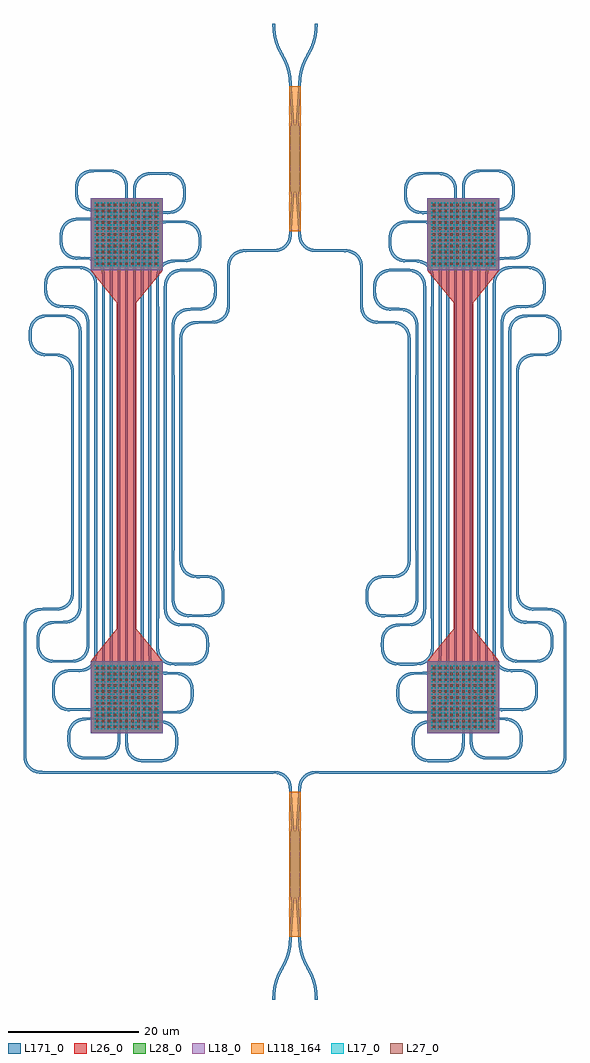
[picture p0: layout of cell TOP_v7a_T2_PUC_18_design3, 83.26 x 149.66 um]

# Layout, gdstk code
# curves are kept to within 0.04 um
import gdstk
lib = gdstk.Library(unit=1e-6, precision=1e-09)
def R(c, l, rs):  # rectangles x0, y0, x1, y1
    for r in rs: c.add(gdstk.rectangle(r[:2], r[2:], *l))
def A(c, l, x, y, w, h, nx, ny, dx, dy):  # array of equal rectangles
    R(c, l, [(x+i*dx, y+j*dy, x+i*dx+w, y+j*dy+h) for i in range(nx) for j in range(ny)])
def P(c, l, *ps):  # polygons
    for p in ps: c.add(gdstk.Polygon(p, *l))
L17_0 = (17, 0)
L18_0 = (18, 0)
L26_0 = (26, 0)
L27_0 = (27, 0)
L28_0 = (28, 0)
L118_164 = (118, 164)
L171_0 = (171, 0)

top_v7a_t2_puc_18_design = lib.new_cell('TOP_v7a_T2_PUC_18_design3')
A(top_v7a_t2_puc_18_design, L17_0, -30.715, -33.4, 0.2, 0.2, 21, 21, 0.48, 0.48)
A(top_v7a_t2_puc_18_design, L17_0, 20.915, -33.4, 0.2, 0.2, 21, 21, 0.48, 0.48)
A(top_v7a_t2_puc_18_design, L17_0, -30.715, 37.6, 0.2, 0.2, 21, 21, 0.48, 0.48)
A(top_v7a_t2_puc_18_design, L17_0, 20.915, 37.6, 0.2, 0.2, 21, 21, 0.48, 0.48)
R(top_v7a_t2_puc_18_design, L18_0, [(-31.315,-34,-20.315,-23), (20.315,-34,31.315,-23), (-31.315,37,-20.315,48), (20.315,37,31.315,48)])
R(top_v7a_t2_puc_18_design, L26_0, [(-31.315,-34,-20.315,-23), (20.315,-34,31.315,-23), (-27.315,-18,-24.315,32), (24.315,-18,27.315,32), (-31.315,37,-20.315,48), (20.315,37,31.315,48)])
P(top_v7a_t2_puc_18_design, L26_0, [(24.315,32),(20.315,37),(31.315,37),(27.315,32)],
  [(20.315,-23),(24.315,-18),(27.315,-18),(31.315,-23)],
  [(-27.315,32),(-31.315,37),(-20.315,37),(-24.315,32)],
  [(-31.315,-23),(-27.315,-18),(-24.315,-18),(-20.315,-23)])
A(top_v7a_t2_puc_18_design, L27_0, -30.495, -33.18, 0.36, 0.36, 11, 11, 0.9, 0.9)
A(top_v7a_t2_puc_18_design, L27_0, 21.135, -33.18, 0.36, 0.36, 11, 11, 0.9, 0.9)
A(top_v7a_t2_puc_18_design, L27_0, -30.495, 37.82, 0.36, 0.36, 11, 11, 0.9, 0.9)
A(top_v7a_t2_puc_18_design, L27_0, 21.135, 37.82, 0.36, 0.36, 11, 11, 0.9, 0.9)
R(top_v7a_t2_puc_18_design, L28_0, [(-31.315,-34,-20.315,-23), (20.315,-34,31.315,-23), (-31.315,37,-20.315,48), (20.315,37,31.315,48)])
R(top_v7a_t2_puc_18_design, L118_164, [(-0.91,-65.2,0.91,-43), (-0.91,43,0.91,65.2)])
R(top_v7a_t2_puc_18_design, L171_0, [(-38.425,-40.205,-3.705,-39.795), (3.705,-40.205,38.425,-39.795), (-41.63,-37,-41.22,-23), (41.22,-37,41.63,-23), (-7.205,39.795,-3.705,40.205), (3.705,39.795,7.205,40.205)])
P(top_v7a_t2_puc_18_design, L171_0, [(20.962,-38.436),(20.127,-38.385),(19.543,-38.229),(18.977,-37.916),(18.51,-37.469),(18.219,-37.015),(18.006,-36.399),(17.932,-35.788),(17.932,-34.672),(18.018,-34.007),(18.219,-33.445),(18.544,-32.949),(18.934,-32.576),(19.443,-32.273),(20.016,-32.095),(20.572,-32.032),(22.365,-31.999),(22.799,-31.921),(23.193,-31.771),(23.693,-31.425),(24.08,-30.957),(24.308,-30.444),(24.411,-29.818),(24.425,48.869),(24.373,49.749),(24.211,50.298),(23.888,50.813),(23.436,51.219),(22.933,51.47),(22.023,51.61),(19.21,51.589),(18.731,51.498),(18.299,51.317),(17.952,51.078),(17.628,50.74),(17.404,50.383),(17.254,49.989),(17.151,49.016),(17.176,48.085),(17.295,47.517),(17.546,47.014),(17.952,46.562),(18.382,46.279),(18.919,46.095),(21.338,45.99),(21.828,45.89),(22.278,45.706),(22.807,45.335),(23.223,44.839),(23.499,44.255),(23.632,43.546),(23.675,34.032),(23.651,-27.988),(23.53,-29.152),(23.356,-29.605),(23.065,-30.059),(22.726,-30.406),(22.325,-30.681),(21.88,-30.874),(21.448,-30.975),(18.481,-31.025),(17.428,-30.905),(16.651,-30.538),(16.282,-30.222),(16.012,-29.885),(15.661,-29.098),(15.555,-28.099),(15.573,-27.094),(15.706,-26.385),(16.012,-25.755),(16.438,-25.269),(16.975,-24.909),(17.591,-24.696),(18.202,-24.622),(19.995,-24.589),(20.429,-24.511),(20.823,-24.361),(21.253,-24.078),(21.659,-23.626),(21.91,-23.123),(22.029,-22.555),(22.055,41.459),(21.975,42.484),(21.801,42.973),(21.487,43.438),(21.066,43.809),(20.563,44.06),(19.653,44.2),(16.84,44.179),(16.406,44.101),(16.012,43.951),(15.655,43.727),(15.317,43.403),(14.925,42.713),(14.785,41.803),(14.794,40.822),(14.897,40.196),(15.15,39.643),(15.582,39.152),(16.012,38.869),(16.549,38.685),(18.968,38.58),(19.458,38.48),(19.908,38.296),(20.437,37.925),(20.853,37.429),(21.129,36.845),(21.262,36.136),(21.28,-20.689),(21.23,-21.413),(21.074,-21.997),(20.793,-22.519),(20.397,-22.961),(19.662,-23.409),(18.857,-23.592),(15.943,-23.612),(14.955,-23.464),(14.194,-23.064),(13.612,-22.429),(13.291,-21.688),(13.185,-20.689),(13.203,-19.684),(13.336,-18.975),(13.642,-18.345),(14.068,-17.859),(14.605,-17.499),(15.221,-17.286),(15.832,-17.212),(17.625,-17.179),(18.059,-17.101),(18.453,-16.951),(18.883,-16.668),(19.289,-16.216),(19.54,-15.713),(19.659,-15.145),(19.685,34.049),(19.615,35.026),(19.431,35.563),(19.148,35.993),(18.696,36.399),(18.193,36.65),(17.283,36.79),(14.617,36.781),(14.131,36.715),(13.727,36.581),(13.074,36.131),(12.806,35.806),(12.606,35.435),(12.48,35.026),(12.421,34.54),(12.421,33.46),(12.514,32.831),(12.78,32.233),(13.177,31.773),(13.642,31.459),(14.179,31.275),(16.598,31.17),(17.088,31.07),(17.538,30.886),(18.067,30.515),(18.483,30.019),(18.759,29.435),(18.887,28.782),(18.935,19.212),(18.903,-13.558),(18.759,-14.435),(18.423,-15.109),(17.858,-15.686),(17.14,-16.054),(16.263,-16.198),(13.573,-16.202),(12.851,-16.124),(12.235,-15.911),(11.542,-15.402),(11.063,-14.687),(10.857,-13.948),(10.814,-12.832),(10.865,-11.997),(11.021,-11.413),(11.366,-10.804),(11.824,-10.346),(12.333,-10.043),(12.906,-9.865),(13.462,-9.802),(15.255,-9.769),(15.998,-9.581),(16.44,-9.317),(16.837,-8.92),(17.101,-8.478),(17.263,-7.929),(17.315,-7.049),(17.315,26.049),(17.263,26.929),(17.101,27.478),(16.778,27.993),(16.326,28.399),(15.867,28.634),(15.06,28.784),(12.257,28.837),(11.668,28.982),(11.14,29.252),(10.619,29.719),(10.248,30.313),(10.05,30.997),(10,31.721),(10,37),(10.41,37),(10.424,31.412),(10.555,30.697),(10.86,30.118),(11.438,29.575),(12.131,29.285),(12.812,29.21),(15.246,29.187),(15.798,29.099),(16.207,28.957),(16.716,28.654),(17.174,28.196),(17.519,27.587),(17.675,27.003),(17.726,26.168),(17.726,-7.168),(17.675,-8.003),(17.519,-8.587),(17.238,-9.109),(16.842,-9.551),(16.305,-9.911),(15.852,-10.085),(15.302,-10.182),(13.091,-10.257),(12.542,-10.419),(12.1,-10.683),(11.703,-11.08),(11.421,-11.565),(11.277,-12.071),(11.226,-12.804),(11.263,-13.832),(11.439,-14.478),(11.889,-15.131),(12.457,-15.541),(12.946,-15.715),(13.627,-15.79),(16.245,-15.784),(17.008,-15.65),(17.625,-15.317),(18.13,-14.767),(18.396,-14.169),(18.495,-13.393),(18.474,28.735),(18.355,29.303),(18.104,29.806),(17.698,30.258),(17.268,30.541),(16.874,30.691),(16.44,30.769),(14.647,30.802),(14.036,30.876),(13.42,31.089),(12.843,31.485),(12.399,32.026),(12.12,32.668),(12.01,33.386),(12.01,34.614),(12.206,35.587),(12.427,36.019),(12.727,36.402),(13.096,36.718),(13.518,36.957),(14.036,37.124),(14.591,37.195),(17.448,37.198),(18.004,37.135),(18.477,36.999),(18.999,36.718),(19.476,36.281),(19.801,35.785),(20.025,35.114),(20.096,34.168),(20.06,-15.303),(19.908,-15.947),(19.608,-16.519),(19.212,-16.961),(18.675,-17.321),(18.222,-17.495),(17.672,-17.592),(15.461,-17.667),(14.912,-17.829),(14.47,-18.093),(14.045,-18.528),(13.756,-19.063),(13.621,-19.675),(13.595,-20.459),(13.665,-21.436),(13.916,-22.097),(14.397,-22.668),(15.087,-23.06),(15.997,-23.2),(18.663,-23.191),(19.422,-23.044),(20.068,-22.668),(20.42,-22.292),(20.692,-21.801),(20.818,-21.339),(20.869,-20.606),(20.844,36.145),(20.725,36.713),(20.474,37.216),(20.068,37.668),(19.638,37.951),(19.244,38.101),(18.81,38.179),(17.017,38.212),(16.406,38.286),(15.79,38.499),(15.253,38.859),(14.797,39.391),(14.49,40.078),(14.38,40.796),(14.373,41.857),(14.521,42.845),(14.714,43.29),(15.024,43.732),(15.379,44.064),(15.79,44.321),(16.243,44.495),(16.793,44.592),(19.818,44.608),(20.797,44.428),(21.369,44.128),(21.811,43.732),(22.171,43.195),(22.384,42.579),(22.466,41.578),(22.442,-22.602),(22.314,-23.255),(22.038,-23.839),(21.622,-24.335),(21.093,-24.706),(20.643,-24.89),(20.153,-24.99),(17.734,-25.095),(17.197,-25.279),(16.767,-25.562),(16.361,-26.014),(16.11,-26.517),(15.991,-27.085),(15.966,-28.016),(16.045,-28.894),(16.361,-29.626),(16.629,-29.951),(16.954,-30.219),(17.325,-30.419),(17.734,-30.545),(18.367,-30.61),(20.494,-30.615),(21.519,-30.535),(21.966,-30.381),(22.365,-30.137),(22.762,-29.74),(23.006,-29.341),(23.188,-28.749),(23.24,-27.869),(23.229,43.36),(23.136,43.989),(22.942,44.466),(22.576,44.951),(22.172,45.27),(21.748,45.47),(21.277,45.577),(19.219,45.633),(18.408,45.802),(17.926,46.042),(17.543,46.342),(17.197,46.755),(16.946,47.233),(16.763,48.038),(16.747,49.378),(16.846,50.098),(17.084,50.7),(17.543,51.298),(18.16,51.731),(18.831,51.955),(19.666,52.025),(22.356,52.007),(22.962,51.905),(23.415,51.731),(23.992,51.335),(24.436,50.794),(24.715,50.152),(24.825,49.434),(24.835,-29.509),(24.765,-30.344),(24.541,-31.015),(24.145,-31.592),(23.604,-32.036),(23.065,-32.284),(22.578,-32.393),(20.59,-32.446),(20.056,-32.515),(19.484,-32.733),(18.999,-33.099),(18.633,-33.584),(18.415,-34.156),(18.34,-34.837),(18.373,-36.062),(18.48,-36.533),(18.656,-36.917),(19.21,-37.547),(19.567,-37.771),(19.961,-37.921),(20.934,-38.024),(23.355,-38.014),(24.206,-37.847),(24.735,-37.547),(25.132,-37.15),(25.396,-36.708),(25.558,-36.159),(25.61,-35.279),(25.61,7),(26.02,7),(25.985,-36.123),(25.833,-36.767),(25.533,-37.339),(25.096,-37.816),(24.502,-38.187),(23.984,-38.354),(23.429,-38.425)],
  [(29.832,-38.026),(29.107,-37.99),(28.617,-37.89),(28.12,-37.681),(27.678,-37.371),(27.314,-36.973),(27.043,-36.507),(26.876,-35.989),(26.802,-35.378),(26.802,43.788),(26.901,44.508),(27.139,45.11),(27.522,45.632),(28.12,46.091),(28.565,46.284),(29.107,46.4),(31.526,46.505),(32.063,46.689),(32.493,46.972),(32.899,47.424),(33.15,47.927),(33.269,48.495),(33.294,49.426),(33.191,50.399),(33.041,50.793),(32.817,51.15),(32.493,51.488),(32.146,51.727),(31.714,51.908),(31.235,51.999),(28.422,52.02),(27.512,51.88),(27.009,51.629),(26.557,51.223),(26.234,50.708),(26.072,50.159),(26.02,49.279),(26.02,7),(25.61,7),(25.62,49.844),(25.691,50.399),(25.858,50.917),(26.129,51.383),(26.493,51.781),(26.935,52.091),(27.38,52.284),(27.867,52.393),(28.536,52.435),(31.393,52.4),(32.037,52.248),(32.565,51.978),(33.154,51.426),(33.518,50.767),(33.682,50.012),(33.705,48.951),(33.655,48.227),(33.499,47.643),(33.186,47.077),(32.739,46.61),(32.187,46.273),(31.614,46.095),(31.058,46.032),(29.265,45.999),(28.831,45.921),(28.437,45.771),(27.937,45.425),(27.55,44.957),(27.322,44.444),(27.219,43.818),(27.205,-34.869),(27.266,-35.798),(27.439,-36.341),(27.742,-36.813),(28.194,-37.219),(28.697,-37.47),(29.607,-37.61),(32.42,-37.589),(32.899,-37.498),(33.331,-37.317),(33.678,-37.078),(34.002,-36.74),(34.226,-36.383),(34.376,-35.989),(34.479,-35.016),(34.454,-34.085),(34.335,-33.517),(34.084,-33.014),(33.678,-32.562),(33.248,-32.279),(32.711,-32.095),(30.292,-31.99),(29.802,-31.89),(29.352,-31.706),(28.823,-31.335),(28.407,-30.839),(28.131,-30.255),(27.998,-29.546),(27.955,-20.032),(27.979,41.988),(28.1,43.152),(28.274,43.605),(28.565,44.059),(28.904,44.406),(29.305,44.681),(29.75,44.874),(30.182,44.975),(33.149,45.025),(34.202,44.905),(34.979,44.538),(35.348,44.222),(35.618,43.885),(35.969,43.098),(36.075,42.099),(36.057,41.094),(35.924,40.385),(35.618,39.755),(35.192,39.269),(34.655,38.909),(34.039,38.696),(33.428,38.622),(31.635,38.589),(31.201,38.511),(30.807,38.361),(30.377,38.078),(29.971,37.626),(29.72,37.123),(29.601,36.555),(29.575,-27.459),(29.655,-28.484),(29.829,-28.973),(30.143,-29.438),(30.564,-29.809),(31.067,-30.06),(31.977,-30.2),(34.79,-30.179),(35.224,-30.101),(35.618,-29.951),(35.975,-29.727),(36.313,-29.403),(36.705,-28.713),(36.845,-27.803),(36.836,-26.822),(36.733,-26.196),(36.48,-25.643),(36.048,-25.152),(35.618,-24.869),(35.081,-24.685),(32.662,-24.58),(32.172,-24.48),(31.722,-24.296),(31.193,-23.925),(30.777,-23.429),(30.501,-22.845),(30.368,-22.136),(30.35,34.689),(30.4,35.413),(30.556,35.997),(30.837,36.519),(31.233,36.961),(31.968,37.409),(32.773,37.592),(35.687,37.612),(36.675,37.464),(37.436,37.064),(38.018,36.429),(38.339,35.688),(38.445,34.689),(38.427,33.684),(38.294,32.975),(37.988,32.345),(37.562,31.859),(37.025,31.499),(36.409,31.286),(35.798,31.212),(34.005,31.179),(33.571,31.101),(33.177,30.951),(32.747,30.668),(32.341,30.216),(32.09,29.713),(31.971,29.145),(31.945,-20.049),(32.015,-21.026),(32.199,-21.563),(32.482,-21.993),(32.934,-22.399),(33.437,-22.65),(34.347,-22.79),(37.013,-22.781),(37.499,-22.715),(37.903,-22.581),(38.556,-22.131),(38.824,-21.806),(39.024,-21.435),(39.15,-21.026),(39.209,-20.54),(39.209,-19.46),(39.116,-18.831),(38.85,-18.233),(38.453,-17.773),(37.988,-17.459),(37.451,-17.275),(35.032,-17.17),(34.542,-17.07),(34.092,-16.886),(33.563,-16.515),(33.147,-16.019),(32.871,-15.435),(32.743,-14.782),(32.695,-5.212),(32.727,27.558),(32.871,28.435),(33.207,29.109),(33.772,29.686),(34.49,30.054),(35.367,30.198),(38.057,30.202),(38.779,30.124),(39.395,29.911),(40.088,29.402),(40.567,28.687),(40.773,27.948),(40.816,26.832),(40.765,25.997),(40.609,25.413),(40.264,24.804),(39.806,24.346),(39.297,24.043),(38.724,23.865),(38.168,23.802),(36.375,23.769),(35.632,23.581),(35.19,23.317),(34.793,22.92),(34.529,22.478),(34.367,21.929),(34.315,21.049),(34.315,-12.049),(34.367,-12.929),(34.529,-13.478),(34.852,-13.993),(35.304,-14.399),(35.763,-14.634),(36.57,-14.784),(39.373,-14.837),(39.962,-14.982),(40.49,-15.252),(41.011,-15.719),(41.382,-16.313),(41.58,-16.997),(41.63,-17.721),(41.63,-23),(41.22,-23),(41.206,-17.412),(41.075,-16.697),(40.77,-16.118),(40.192,-15.575),(39.499,-15.285),(38.818,-15.21),(36.384,-15.187),(35.832,-15.099),(35.423,-14.957),(34.914,-14.654),(34.456,-14.196),(34.111,-13.587),(33.955,-13.003),(33.904,-12.168),(33.904,21.168),(33.955,22.003),(34.111,22.587),(34.392,23.109),(34.788,23.551),(35.325,23.911),(35.778,24.085),(36.328,24.182),(38.539,24.257),(39.088,24.419),(39.53,24.683),(39.927,25.08),(40.209,25.565),(40.353,26.071),(40.404,26.804),(40.367,27.832),(40.191,28.478),(39.741,29.131),(39.173,29.541),(38.684,29.715),(38.003,29.79),(35.385,29.784),(34.622,29.65),(34.005,29.317),(33.5,28.767),(33.234,28.169),(33.135,27.393),(33.156,-14.735),(33.275,-15.303),(33.526,-15.806),(33.932,-16.258),(34.362,-16.541),(34.756,-16.691),(35.19,-16.769),(36.983,-16.802),(37.594,-16.876),(38.21,-17.089),(38.787,-17.485),(39.231,-18.026),(39.51,-18.668),(39.62,-19.386),(39.62,-20.614),(39.424,-21.587),(39.203,-22.019),(38.903,-22.402),(38.534,-22.718),(38.112,-22.957),(37.594,-23.124),(37.039,-23.195),(34.182,-23.198),(33.626,-23.135),(33.153,-22.999),(32.631,-22.718),(32.154,-22.281),(31.829,-21.785),(31.605,-21.114),(31.534,-20.168),(31.57,29.303),(31.722,29.947),(32.022,30.519),(32.418,30.961),(32.955,31.321),(33.408,31.495),(33.958,31.592),(36.169,31.667),(36.718,31.829),(37.16,32.093),(37.585,32.528),(37.874,33.063),(38.009,33.675),(38.035,34.459),(37.965,35.436),(37.714,36.097),(37.233,36.668),(36.543,37.06),(35.633,37.2),(32.967,37.191),(32.208,37.044),(31.562,36.668),(31.21,36.292),(30.938,35.801),(30.812,35.339),(30.761,34.606),(30.786,-22.145),(30.905,-22.713),(31.156,-23.216),(31.562,-23.668),(31.992,-23.951),(32.386,-24.101),(32.82,-24.179),(34.613,-24.212),(35.224,-24.286),(35.84,-24.499),(36.377,-24.859),(36.833,-25.391),(37.14,-26.078),(37.25,-26.796),(37.257,-27.857),(37.109,-28.845),(36.916,-29.29),(36.606,-29.732),(36.251,-30.064),(35.84,-30.321),(35.387,-30.495),(34.837,-30.592),(31.812,-30.608),(30.833,-30.428),(30.261,-30.128),(29.819,-29.732),(29.459,-29.195),(29.246,-28.579),(29.164,-27.578),(29.188,36.602),(29.316,37.255),(29.592,37.839),(30.008,38.335),(30.537,38.706),(30.987,38.89),(31.477,38.99),(33.896,39.095),(34.433,39.279),(34.863,39.562),(35.269,40.014),(35.52,40.517),(35.639,41.085),(35.664,42.016),(35.585,42.894),(35.269,43.626),(35.001,43.951),(34.676,44.219),(33.944,44.535),(32.919,44.615),(30.792,44.61),(30.159,44.545),(29.707,44.401),(29.303,44.165),(28.958,43.848),(28.711,43.507),(28.46,42.846),(28.39,41.869),(28.404,-29.408),(28.507,-30.034),(28.735,-30.547),(29.122,-31.015),(29.622,-31.361),(30.016,-31.511),(30.45,-31.589),(32.243,-31.622),(32.799,-31.685),(33.372,-31.863),(33.924,-32.2),(34.371,-32.667),(34.684,-33.233),(34.84,-33.817),(34.89,-34.541),(34.867,-35.602),(34.703,-36.357),(34.339,-37.016),(33.794,-37.538),(33.222,-37.838),(32.578,-37.99)],
  [(-22.983,-38.436),(-23.708,-38.4),(-24.198,-38.3),(-24.695,-38.091),(-25.137,-37.781),(-25.501,-37.383),(-25.772,-36.917),(-25.939,-36.399),(-26.01,-35.844),(-26.02,7),(-25.61,7),(-25.61,-35.279),(-25.558,-36.159),(-25.396,-36.708),(-25.073,-37.223),(-24.621,-37.629),(-24.118,-37.88),(-23.208,-38.02),(-20.201,-37.973),(-19.739,-37.847),(-19.324,-37.629),(-18.935,-37.293),(-18.656,-36.917),(-18.387,-36.159),(-18.34,-34.837),(-18.405,-34.204),(-18.549,-33.752),(-18.813,-33.31),(-19.21,-32.913),(-19.652,-32.649),(-20.152,-32.496),(-22.523,-32.4),(-23.013,-32.3),(-23.463,-32.116),(-23.992,-31.745),(-24.408,-31.249),(-24.684,-30.665),(-24.817,-29.956),(-24.828,49.378),(-24.715,50.152),(-24.436,50.794),(-23.992,51.335),(-23.415,51.731),(-22.908,51.919),(-22.244,52.015),(-19.387,52.018),(-18.613,51.905),(-17.971,51.626),(-17.43,51.182),(-17.034,50.605),(-16.81,49.934),(-16.74,49.099),(-16.775,47.927),(-16.988,47.133),(-17.227,46.711),(-17.543,46.342),(-17.926,46.042),(-18.408,45.802),(-19.219,45.633),(-21.277,45.577),(-21.748,45.47),(-22.172,45.27),(-22.576,44.951),(-22.942,44.466),(-23.136,43.989),(-23.229,43.36),(-23.202,-28.652),(-23.062,-29.211),(-22.762,-29.74),(-22.327,-30.165),(-21.792,-30.454),(-21.374,-30.563),(-20.838,-30.61),(-18.025,-30.589),(-17.546,-30.498),(-17.114,-30.317),(-16.767,-30.078),(-16.443,-29.74),(-16.219,-29.383),(-16.069,-28.989),(-15.966,-28.016),(-15.991,-27.085),(-16.11,-26.517),(-16.361,-26.014),(-16.767,-25.562),(-17.197,-25.279),(-17.734,-25.095),(-20.153,-24.99),(-20.643,-24.89),(-21.093,-24.706),(-21.622,-24.335),(-22.038,-23.839),(-22.314,-23.255),(-22.447,-22.546),(-22.465,41.689),(-22.423,42.358),(-22.314,42.845),(-22.121,43.29),(-21.846,43.691),(-21.541,43.996),(-21.14,44.271),(-20.695,44.464),(-20.208,44.573),(-17.128,44.612),(-16.243,44.495),(-15.466,44.128),(-15.097,43.812),(-14.827,43.475),(-14.476,42.688),(-14.37,41.689),(-14.388,40.684),(-14.521,39.975),(-14.827,39.345),(-15.253,38.859),(-15.79,38.499),(-16.406,38.286),(-17.017,38.212),(-18.81,38.179),(-19.244,38.101),(-19.638,37.951),(-20.068,37.668),(-20.474,37.216),(-20.725,36.713),(-20.844,36.145),(-20.87,-20.459),(-20.8,-21.436),(-20.616,-21.973),(-20.333,-22.403),(-19.881,-22.809),(-19.378,-23.06),(-18.468,-23.2),(-15.655,-23.179),(-15.221,-23.101),(-14.827,-22.951),(-14.47,-22.727),(-14.132,-22.403),(-13.74,-21.713),(-13.6,-20.803),(-13.609,-19.822),(-13.712,-19.196),(-13.965,-18.643),(-14.397,-18.152),(-14.827,-17.869),(-15.364,-17.685),(-17.783,-17.58),(-18.273,-17.48),(-18.723,-17.296),(-19.252,-16.925),(-19.668,-16.429),(-19.944,-15.845),(-20.072,-15.192),(-20.092,34.447),(-20.025,35.114),(-19.847,35.687),(-19.544,36.196),(-19.086,36.654),(-18.427,37.018),(-17.616,37.187),(-14.758,37.202),(-13.873,37.085),(-13.14,36.748),(-12.585,36.239),(-12.206,35.587),(-12.023,34.782),(-12.007,33.442),(-12.106,32.722),(-12.371,32.073),(-12.803,31.522),(-13.325,31.139),(-13.982,30.888),(-14.647,30.802),(-16.44,30.769),(-16.919,30.678),(-17.351,30.497),(-17.836,30.131),(-18.202,29.646),(-18.42,29.074),(-18.495,28.393),(-18.474,-13.735),(-18.355,-14.303),(-18.104,-14.806),(-17.698,-15.258),(-17.183,-15.581),(-16.779,-15.715),(-16.245,-15.784),(-13.627,-15.79),(-12.946,-15.715),(-12.333,-15.474),(-11.825,-15.063),(-11.479,-14.563),(-11.277,-13.929),(-11.225,-13.049),(-11.277,-12.071),(-11.479,-11.437),(-11.703,-11.08),(-12.027,-10.742),(-12.717,-10.35),(-13.432,-10.219),(-15.468,-10.163),(-15.955,-10.054),(-16.447,-9.834),(-16.922,-9.478),(-17.326,-8.974),(-17.574,-8.435),(-17.702,-7.782),(-17.715,26.614),(-17.605,27.332),(-17.326,27.974),(-16.882,28.515),(-16.305,28.911),(-15.852,29.085),(-15.302,29.182),(-12.812,29.21),(-12.131,29.285),(-11.438,29.575),(-10.888,30.08),(-10.555,30.697),(-10.424,31.412),(-10.41,37),(-10,37),(-10.01,31.386),(-10.151,30.565),(-10.457,29.935),(-10.727,29.598),(-11.096,29.282),(-11.518,29.043),(-11.927,28.901),(-12.647,28.802),(-15.255,28.769),(-15.734,28.678),(-16.166,28.497),(-16.651,28.131),(-17.061,27.563),(-17.254,26.978),(-17.314,26.196),(-17.315,-7.049),(-17.263,-7.929),(-17.101,-8.478),(-16.837,-8.92),(-16.44,-9.317),(-15.998,-9.581),(-15.255,-9.769),(-13.462,-9.802),(-12.851,-9.876),(-12.235,-10.089),(-11.698,-10.449),(-11.242,-10.981),(-10.935,-11.668),(-10.825,-12.386),(-10.822,-13.558),(-10.885,-14.114),(-11.021,-14.587),(-11.242,-15.019),(-11.542,-15.402),(-11.911,-15.718),(-12.333,-15.957),(-12.851,-16.124),(-13.406,-16.195),(-16.263,-16.198),(-16.819,-16.135),(-17.292,-15.999),(-17.901,-15.654),(-18.359,-15.196),(-18.704,-14.587),(-18.86,-14.003),(-18.911,-13.168),(-18.935,-4.212),(-18.93,22.545),(-18.868,28.948),(-18.704,29.587),(-18.423,30.109),(-18.027,30.551),(-17.49,30.911),(-17.037,31.085),(-16.487,31.182),(-14.276,31.257),(-13.727,31.419),(-13.285,31.683),(-12.86,32.118),(-12.571,32.653),(-12.442,33.216),(-12.41,33.951),(-12.462,34.929),(-12.708,35.646),(-13.212,36.258),(-13.858,36.634),(-14.276,36.743),(-14.812,36.79),(-17.478,36.781),(-18.193,36.65),(-18.81,36.317),(-19.207,35.92),(-19.489,35.435),(-19.633,34.929),(-19.684,34.196),(-19.659,-15.145),(-19.54,-15.713),(-19.289,-16.216),(-18.883,-16.668),(-18.453,-16.951),(-18.059,-17.101),(-17.625,-17.179),(-15.832,-17.212),(-15.221,-17.286),(-14.605,-17.499),(-14.028,-17.895),(-13.584,-18.436),(-13.305,-19.078),(-13.195,-19.796),(-13.192,-20.968),(-13.255,-21.524),(-13.391,-21.997),(-13.612,-22.429),(-13.912,-22.812),(-14.281,-23.128),(-14.703,-23.367),(-15.221,-23.534),(-15.776,-23.605),(-18.633,-23.608),(-19.189,-23.545),(-19.662,-23.409),(-20.184,-23.128),(-20.661,-22.691),(-20.986,-22.195),(-21.21,-21.524),(-21.28,-20.689),(-21.305,-11.622),(-21.257,36.192),(-21.129,36.845),(-20.853,37.429),(-20.437,37.925),(-19.908,38.296),(-19.458,38.48),(-18.968,38.58),(-16.549,38.685),(-16.012,38.869),(-15.582,39.152),(-15.176,39.604),(-14.925,40.107),(-14.806,40.675),(-14.78,41.459),(-14.85,42.436),(-15.125,43.137),(-15.655,43.727),(-16.012,43.951),(-16.406,44.101),(-17.379,44.204),(-20.092,44.167),(-20.865,43.929),(-21.18,43.727),(-21.518,43.403),(-21.757,43.056),(-21.938,42.624),(-22.054,41.606),(-22.029,-22.555),(-21.91,-23.123),(-21.659,-23.626),(-21.253,-24.078),(-20.823,-24.361),(-20.429,-24.511),(-19.995,-24.589),(-18.202,-24.622),(-17.591,-24.696),(-16.975,-24.909),(-16.438,-25.269),(-15.982,-25.801),(-15.675,-26.488),(-15.565,-27.206),(-15.558,-28.267),(-15.706,-29.255),(-15.899,-29.7),(-16.209,-30.142),(-16.564,-30.474),(-16.975,-30.731),(-17.428,-30.905),(-17.978,-31.002),(-21.003,-31.018),(-21.982,-30.838),(-22.554,-30.538),(-22.996,-30.142),(-23.356,-29.605),(-23.569,-28.989),(-23.65,-28.099),(-23.675,-19.032),(-23.632,43.546),(-23.499,44.255),(-23.223,44.839),(-22.807,45.335),(-22.278,45.706),(-21.828,45.89),(-21.338,45.99),(-18.919,46.095),(-18.382,46.279),(-17.952,46.562),(-17.546,47.014),(-17.295,47.517),(-17.176,48.085),(-17.151,49.016),(-17.23,49.894),(-17.546,50.626),(-17.814,50.951),(-18.139,51.219),(-18.51,51.419),(-18.919,51.545),(-19.552,51.61),(-21.679,51.615),(-22.704,51.535),(-23.151,51.381),(-23.55,51.137),(-23.888,50.813),(-24.171,50.383),(-24.373,49.749),(-24.425,48.869),(-24.411,-29.818),(-24.308,-30.444),(-24.08,-30.957),(-23.693,-31.425),(-23.193,-31.771),(-22.799,-31.921),(-22.365,-31.999),(-20.572,-32.032),(-20.016,-32.095),(-19.443,-32.273),(-18.891,-32.61),(-18.444,-33.077),(-18.131,-33.643),(-17.975,-34.227),(-17.925,-34.951),(-17.948,-36.012),(-18.112,-36.767),(-18.476,-37.426),(-19.021,-37.948),(-19.593,-38.248),(-20.237,-38.4)],
  [(-31.853,-38.026),(-32.688,-37.975),(-33.272,-37.819),(-33.838,-37.506),(-34.305,-37.059),(-34.596,-36.605),(-34.809,-35.989),(-34.883,-35.378),(-34.883,-34.262),(-34.797,-33.597),(-34.596,-33.035),(-34.271,-32.539),(-33.838,-32.134),(-33.272,-31.821),(-32.744,-31.675),(-30.45,-31.589),(-29.664,-31.381),(-29.192,-31.078),(-28.786,-30.626),(-28.535,-30.123),(-28.416,-29.555),(-28.428,42.652),(-28.568,43.211),(-28.868,43.74),(-29.303,44.165),(-29.838,44.454),(-30.256,44.563),(-30.792,44.61),(-33.605,44.589),(-34.084,44.498),(-34.516,44.317),(-34.863,44.078),(-35.187,43.74),(-35.411,43.383),(-35.561,42.989),(-35.664,42.016),(-35.639,41.085),(-35.52,40.517),(-35.269,40.014),(-34.863,39.562),(-34.433,39.279),(-33.896,39.095),(-31.477,38.99),(-30.987,38.89),(-30.537,38.706),(-30.008,38.335),(-29.592,37.839),(-29.316,37.255),(-29.183,36.546),(-29.165,-27.689),(-29.207,-28.358),(-29.316,-28.845),(-29.509,-29.29),(-29.784,-29.691),(-30.089,-29.996),(-30.49,-30.271),(-30.935,-30.464),(-31.422,-30.573),(-34.502,-30.612),(-35.387,-30.495),(-36.164,-30.128),(-36.533,-29.812),(-36.803,-29.475),(-37.154,-28.688),(-37.26,-27.689),(-37.242,-26.684),(-37.109,-25.975),(-36.803,-25.345),(-36.377,-24.859),(-35.84,-24.499),(-35.224,-24.286),(-34.613,-24.212),(-32.82,-24.179),(-32.386,-24.101),(-31.992,-23.951),(-31.562,-23.668),(-31.156,-23.216),(-30.905,-22.713),(-30.786,-22.145),(-30.76,34.459),(-30.83,35.436),(-31.014,35.973),(-31.297,36.403),(-31.749,36.809),(-32.252,37.06),(-33.162,37.2),(-35.975,37.179),(-36.409,37.101),(-36.803,36.951),(-37.16,36.727),(-37.498,36.403),(-37.89,35.713),(-38.03,34.803),(-38.021,33.822),(-37.918,33.196),(-37.665,32.643),(-37.233,32.152),(-36.803,31.869),(-36.266,31.685),(-33.847,31.58),(-33.357,31.48),(-32.907,31.296),(-32.378,30.925),(-31.962,30.429),(-31.686,29.845),(-31.558,29.192),(-31.538,-20.447),(-31.605,-21.114),(-31.783,-21.687),(-32.086,-22.196),(-32.544,-22.654),(-33.203,-23.018),(-34.014,-23.187),(-36.872,-23.202),(-37.757,-23.085),(-38.49,-22.748),(-39.045,-22.239),(-39.424,-21.587),(-39.607,-20.782),(-39.623,-19.442),(-39.524,-18.722),(-39.259,-18.073),(-38.827,-17.522),(-38.305,-17.139),(-37.648,-16.888),(-36.983,-16.802),(-35.19,-16.769),(-34.711,-16.678),(-34.279,-16.497),(-33.794,-16.131),(-33.428,-15.646),(-33.21,-15.074),(-33.135,-14.393),(-33.156,27.735),(-33.275,28.303),(-33.526,28.806),(-33.932,29.258),(-34.447,29.581),(-34.851,29.715),(-35.385,29.784),(-38.003,29.79),(-38.684,29.715),(-39.297,29.474),(-39.805,29.063),(-40.151,28.563),(-40.353,27.929),(-40.405,27.049),(-40.353,26.071),(-40.151,25.437),(-39.927,25.08),(-39.603,24.742),(-38.913,24.35),(-38.198,24.219),(-36.162,24.163),(-35.675,24.054),(-35.183,23.834),(-34.708,23.478),(-34.304,22.974),(-34.056,22.435),(-33.928,21.782),(-33.915,-12.614),(-34.025,-13.332),(-34.304,-13.974),(-34.748,-14.515),(-35.325,-14.911),(-35.778,-15.085),(-36.328,-15.182),(-38.818,-15.21),(-39.499,-15.285),(-40.192,-15.575),(-40.742,-16.08),(-41.075,-16.697),(-41.206,-17.412),(-41.22,-23),(-41.63,-23),(-41.62,-17.386),(-41.479,-16.565),(-41.173,-15.935),(-40.903,-15.598),(-40.534,-15.282),(-40.112,-15.043),(-39.703,-14.901),(-38.983,-14.802),(-36.375,-14.769),(-35.896,-14.678),(-35.464,-14.497),(-34.979,-14.131),(-34.569,-13.563),(-34.376,-12.978),(-34.316,-12.196),(-34.315,21.049),(-34.367,21.929),(-34.529,22.478),(-34.793,22.92),(-35.19,23.317),(-35.632,23.581),(-36.375,23.769),(-38.168,23.802),(-38.779,23.876),(-39.395,24.089),(-39.932,24.449),(-40.388,24.981),(-40.695,25.668),(-40.805,26.386),(-40.808,27.558),(-40.745,28.114),(-40.609,28.587),(-40.388,29.019),(-40.088,29.402),(-39.719,29.718),(-39.297,29.957),(-38.779,30.124),(-38.224,30.195),(-35.367,30.198),(-34.811,30.135),(-34.338,29.999),(-33.729,29.654),(-33.271,29.196),(-32.926,28.587),(-32.77,28.003),(-32.719,27.168),(-32.695,18.212),(-32.7,-8.545),(-32.762,-14.948),(-32.926,-15.587),(-33.207,-16.109),(-33.603,-16.551),(-34.14,-16.911),(-34.593,-17.085),(-35.143,-17.182),(-37.354,-17.257),(-37.903,-17.419),(-38.345,-17.683),(-38.77,-18.118),(-39.059,-18.653),(-39.188,-19.216),(-39.22,-19.951),(-39.168,-20.929),(-38.922,-21.646),(-38.418,-22.258),(-37.772,-22.634),(-37.354,-22.743),(-36.818,-22.79),(-34.152,-22.781),(-33.437,-22.65),(-32.82,-22.317),(-32.423,-21.92),(-32.141,-21.435),(-31.997,-20.929),(-31.946,-20.196),(-31.971,29.145),(-32.09,29.713),(-32.341,30.216),(-32.747,30.668),(-33.177,30.951),(-33.571,31.101),(-34.005,31.179),(-35.798,31.212),(-36.409,31.286),(-37.025,31.499),(-37.602,31.895),(-38.046,32.436),(-38.325,33.078),(-38.435,33.796),(-38.438,34.968),(-38.375,35.524),(-38.239,35.997),(-38.018,36.429),(-37.718,36.812),(-37.349,37.128),(-36.927,37.367),(-36.409,37.534),(-35.854,37.605),(-32.997,37.608),(-32.441,37.545),(-31.968,37.409),(-31.446,37.128),(-30.969,36.691),(-30.644,36.195),(-30.42,35.524),(-30.35,34.689),(-30.325,25.622),(-30.373,-22.192),(-30.501,-22.845),(-30.777,-23.429),(-31.193,-23.925),(-31.722,-24.296),(-32.172,-24.48),(-32.662,-24.58),(-35.081,-24.685),(-35.618,-24.869),(-36.048,-25.152),(-36.454,-25.604),(-36.705,-26.107),(-36.824,-26.675),(-36.85,-27.459),(-36.78,-28.436),(-36.505,-29.137),(-35.975,-29.727),(-35.618,-29.951),(-35.224,-30.101),(-34.251,-30.204),(-31.538,-30.167),(-30.765,-29.929),(-30.45,-29.727),(-30.112,-29.403),(-29.873,-29.056),(-29.692,-28.624),(-29.576,-27.606),(-29.601,36.555),(-29.72,37.123),(-29.971,37.626),(-30.377,38.078),(-30.807,38.361),(-31.201,38.511),(-31.635,38.589),(-33.428,38.622),(-34.039,38.696),(-34.655,38.909),(-35.192,39.269),(-35.648,39.801),(-35.955,40.488),(-36.065,41.206),(-36.072,42.267),(-35.924,43.255),(-35.731,43.7),(-35.421,44.142),(-35.066,44.474),(-34.655,44.731),(-34.202,44.905),(-33.652,45.002),(-30.627,45.018),(-29.648,44.838),(-29.076,44.538),(-28.634,44.142),(-28.274,43.605),(-28.061,42.989),(-27.98,42.099),(-27.955,33.032),(-27.998,-29.546),(-28.131,-30.255),(-28.407,-30.839),(-28.823,-31.335),(-29.352,-31.706),(-29.802,-31.89),(-30.292,-31.99),(-32.711,-32.095),(-33.248,-32.279),(-33.678,-32.562),(-34.084,-33.014),(-34.335,-33.517),(-34.454,-34.085),(-34.479,-35.016),(-34.4,-35.894),(-34.084,-36.626),(-33.816,-36.951),(-33.491,-37.219),(-33.12,-37.419),(-32.711,-37.545),(-32.078,-37.61),(-29.951,-37.615),(-28.926,-37.535),(-28.479,-37.381),(-28.08,-37.137),(-27.742,-36.813),(-27.459,-36.383),(-27.257,-35.749),(-27.205,-34.869),(-27.219,43.818),(-27.322,44.444),(-27.55,44.957),(-27.937,45.425),(-28.437,45.771),(-28.831,45.921),(-29.265,45.999),(-31.058,46.032),(-31.614,46.095),(-32.187,46.273),(-32.739,46.61),(-33.186,47.077),(-33.499,47.643),(-33.655,48.227),(-33.706,49.062),(-33.67,50.123),(-33.499,50.817),(-33.086,51.511),(-32.474,52.036),(-31.935,52.284),(-31.282,52.412),(-28.257,52.428),(-27.701,52.365),(-27.228,52.229),(-26.796,52.008),(-26.413,51.708),(-26.097,51.339),(-25.858,50.917),(-25.691,50.399),(-25.62,49.844),(-25.61,7),(-26.02,7),(-26.02,49.279),(-26.072,50.159),(-26.234,50.708),(-26.557,51.223),(-27.009,51.629),(-27.512,51.88),(-28.422,52.02),(-31.429,51.973),(-31.847,51.864),(-32.267,51.655),(-32.631,51.361),(-32.925,50.997),(-33.225,50.256),(-33.294,49.034),(-33.243,48.301),(-33.099,47.795),(-32.817,47.31),(-32.42,46.913),(-31.978,46.649),(-31.478,46.496),(-29.107,46.4),(-28.617,46.3),(-28.167,46.116),(-27.638,45.745),(-27.222,45.249),(-26.946,44.665),(-26.813,43.956),(-26.802,-35.378),(-26.915,-36.152),(-27.166,-36.747),(-27.598,-37.298),(-28.167,-37.706),(-28.668,-37.905),(-29.274,-38.007)],
  [(-0.91,-65.2),(-0.536,-60.01),(-0.731,-58.907),(-0.792,-57.855),(-0.728,-54.541),(-0.79,-50.234),(-0.731,-49.293),(-0.537,-48.136),(-0.91,-43),(-0.5,-43),(-0.144,-48.572),(-0.095,-48.866),(0,-48.972),(0.095,-48.866),(0.144,-48.572),(0.5,-43),(0.91,-43),(0.536,-48.19),(0.731,-49.293),(0.792,-50.345),(0.728,-53.659),(0.79,-57.966),(0.731,-58.907),(0.537,-60.064),(0.91,-65.2),(0.5,-65.2),(0.144,-59.628),(0.095,-59.334),(0,-59.228),(-0.095,-59.334),(-0.144,-59.628),(-0.5,-65.2)],
  [(-0.91,43),(-0.536,48.19),(-0.731,49.293),(-0.792,50.345),(-0.728,53.659),(-0.79,57.966),(-0.731,58.907),(-0.537,60.064),(-0.91,65.2),(-0.5,65.2),(-0.144,59.628),(-0.095,59.334),(0,59.228),(0.095,59.334),(0.144,59.628),(0.5,65.2),(0.91,65.2),(0.536,60.01),(0.731,58.907),(0.792,57.855),(0.728,54.541),(0.79,50.234),(0.731,49.293),(0.537,48.136),(0.91,43),(0.5,43),(0.144,48.572),(0.095,48.866),(0,48.972),(-0.095,48.866),(-0.144,48.572),(-0.5,43)],
  [(3.05,-74.83),(2.96,-73.382),(2.681,-72.093),(2.261,-71.014),(1.212,-68.924),(0.801,-67.752),(0.581,-66.602),(0.5,-65.2),(0.91,-65.2),(1,-66.648),(1.279,-67.937),(1.699,-69.016),(2.748,-71.106),(3.159,-72.278),(3.379,-73.428),(3.46,-74.83)],
  [(-3.46,-74.83),(-3.355,-73.25),(-3.061,-71.939),(-2.675,-70.943),(-1.648,-68.905),(-1.279,-67.937),(-1,-66.648),(-0.91,-65.2),(-0.5,-65.2),(-0.605,-66.78),(-0.899,-68.091),(-1.285,-69.087),(-2.312,-71.125),(-2.681,-72.093),(-2.96,-73.382),(-3.05,-74.83)],
  [(0.5,65.2),(0.605,66.78),(0.899,68.091),(1.285,69.087),(2.312,71.125),(2.681,72.093),(2.96,73.382),(3.05,74.83),(3.46,74.83),(3.355,73.25),(3.061,71.939),(2.675,70.943),(1.648,68.905),(1.279,67.937),(1,66.648),(0.91,65.2)],
  [(-0.91,65.2),(-1,66.648),(-1.279,67.937),(-1.699,69.016),(-2.748,71.106),(-3.159,72.278),(-3.379,73.428),(-3.46,74.83),(-3.05,74.83),(-2.96,73.382),(-2.681,72.093),(-2.261,71.014),(-1.212,68.924),(-0.801,67.752),(-0.581,66.602),(-0.5,65.2)],
  [(0.5,-43),(0.523,-42.218),(0.635,-41.617),(0.871,-41.073),(1.227,-40.598),(1.686,-40.222),(2.27,-39.946),(2.923,-39.818),(3.705,-39.795),(3.705,-40.205),(2.97,-40.231),(2.446,-40.336),(1.978,-40.55),(1.574,-40.869),(1.255,-41.273),(1.041,-41.741),(0.936,-42.265),(0.91,-43)],
  [(38.537,-40.206),(38.425,-40.205),(38.425,-39.795),(39.16,-39.769),(39.684,-39.664),(40.152,-39.45),(40.556,-39.131),(40.875,-38.727),(41.089,-38.259),(41.194,-37.735),(41.22,-37),(41.63,-37),(41.607,-37.782),(41.495,-38.383),(41.259,-38.927),(40.903,-39.402),(40.444,-39.778),(39.86,-40.054),(39.318,-40.17)],
  [(-0.91,-43),(-0.936,-42.265),(-1.014,-41.831),(-1.186,-41.395),(-1.447,-41.007),(-1.899,-40.601),(-2.402,-40.35),(-2.97,-40.231),(-3.705,-40.205),(-3.705,-39.795),(-2.923,-39.818),(-2.27,-39.946),(-1.64,-40.252),(-1.154,-40.678),(-0.706,-41.413),(-0.523,-42.218),(-0.5,-43)],
  [(-38.593,-40.206),(-39.318,-40.17),(-39.86,-40.054),(-40.444,-39.778),(-40.903,-39.402),(-41.259,-38.927),(-41.495,-38.383),(-41.607,-37.782),(-41.63,-37),(-41.22,-37),(-41.194,-37.735),(-41.089,-38.259),(-40.875,-38.727),(-40.556,-39.131),(-40.152,-39.45),(-39.684,-39.664),(-39.16,-39.769),(-38.425,-39.795),(-38.425,-40.205)],
  [(3.537,39.794),(2.812,39.83),(2.27,39.946),(1.686,40.222),(1.227,40.598),(0.871,41.073),(0.635,41.617),(0.523,42.218),(0.5,43),(0.91,43),(0.936,42.265),(1.041,41.741),(1.255,41.273),(1.574,40.869),(1.978,40.55),(2.446,40.336),(2.97,40.231),(3.705,40.205),(3.705,39.795)],
  [(10,37),(9.974,37.735),(9.896,38.169),(9.724,38.605),(9.463,38.993),(9.011,39.399),(8.508,39.65),(7.94,39.769),(7.205,39.795),(7.205,40.205),(7.987,40.182),(8.64,40.054),(9.27,39.748),(9.756,39.322),(10.204,38.587),(10.387,37.782),(10.41,37)],
  [(-3.593,39.794),(-3.705,39.795),(-3.705,40.205),(-2.97,40.231),(-2.446,40.336),(-1.978,40.55),(-1.574,40.869),(-1.255,41.273),(-1.041,41.741),(-0.936,42.265),(-0.91,43),(-0.5,43),(-0.523,42.218),(-0.635,41.617),(-0.871,41.073),(-1.227,40.598),(-1.686,40.222),(-2.27,39.946),(-2.812,39.83)],
  [(-10.41,37),(-10.387,37.782),(-10.275,38.383),(-10.039,38.927),(-9.683,39.402),(-9.224,39.778),(-8.64,40.054),(-7.987,40.182),(-7.205,40.205),(-7.205,39.795),(-7.94,39.769),(-8.464,39.664),(-8.932,39.45),(-9.336,39.131),(-9.655,38.727),(-9.869,38.259),(-9.974,37.735),(-10,37)])

lib.write_gds('TOP_v7a_T2_PUC_18_design3.gds')
